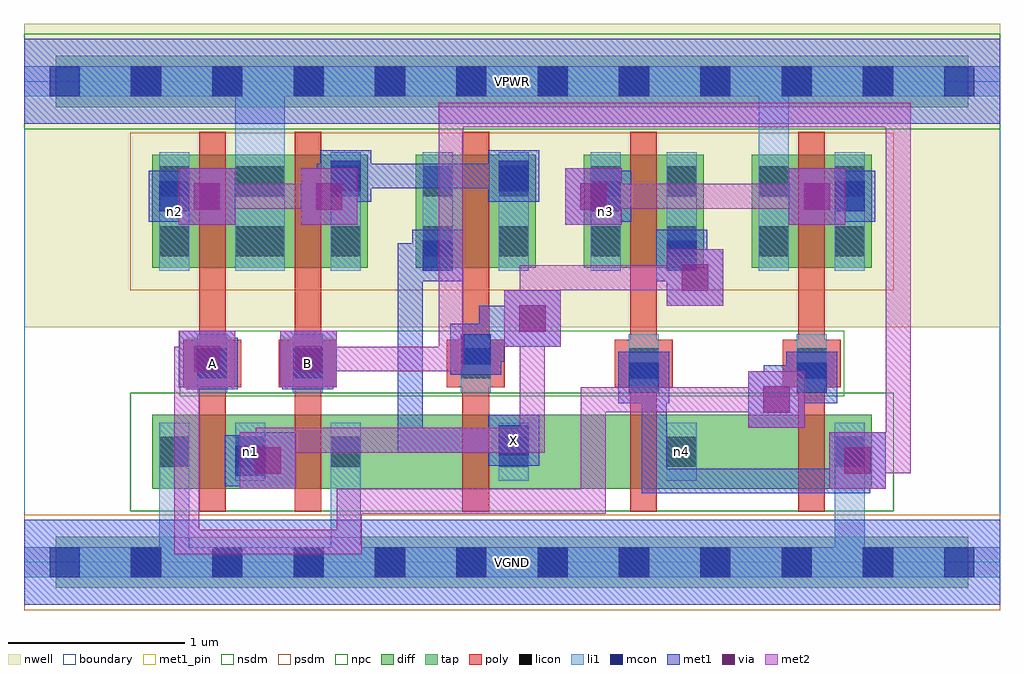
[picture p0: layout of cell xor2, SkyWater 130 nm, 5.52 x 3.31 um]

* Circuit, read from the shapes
.subckt xor2 A B VGND VPWR X n1 n2 n3 n4
XM1 n1 A VGND VGND sky130_fd_pr__nfet_01v8 w=0.42 l=0.15
XM2 VGND B n1 VGND sky130_fd_pr__nfet_01v8 w=0.42 l=0.15
XM3 X n1 VGND VGND sky130_fd_pr__nfet_01v8 w=0.42 l=0.15
XM4 n4 B X VGND sky130_fd_pr__nfet_01v8 w=0.42 l=0.15
XM5 VGND A n4 VGND sky130_fd_pr__nfet_01v8 w=0.42 l=0.15
XM6 VPWR A n2 VPWR sky130_fd_pr__pfet_01v8 w=0.64 l=0.15
XM7 n2 B VPWR VPWR sky130_fd_pr__pfet_01v8 w=0.64 l=0.15
XM8 n2 n1 X VPWR sky130_fd_pr__pfet_01v8 w=0.64 l=0.15
XM9 n1 B n3 VPWR sky130_fd_pr__pfet_01v8 w=0.64 l=0.15
XM10 n3 A VPWR VPWR sky130_fd_pr__pfet_01v8 w=0.64 l=0.15
.ends

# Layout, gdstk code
import gdstk
lib = gdstk.Library(unit=1e-6, precision=1e-09)
def R(c, l, rs):  # rectangles x0, y0, x1, y1
    for r in rs: c.add(gdstk.rectangle(r[:2], r[2:], *l))
def A(c, l, x, y, w, h, nx, ny, dx, dy):  # array of equal rectangles
    R(c, l, [(x+i*dx, y+j*dy, x+i*dx+w, y+j*dy+h) for i in range(nx) for j in range(ny)])
nwell = (64, 20)
diff = (65, 20)
tap = (65, 44)
poly = (66, 20)
licon = (66, 44)
li1 = (67, 20)
mcon = (67, 44)
met1_pin = (68, 16)
met1 = (68, 20)
via = (68, 44)
met2 = (69, 20)
nsdm = (93, 44)
psdm = (94, 20)
npc = (95, 20)
boundary = (235, 4)

xor2 = lib.new_cell('xor2')
R(xor2, nwell, [(0,1.33,5.52,3.045)])
A(xor2, diff, 1.265, 1.665, 0.68, 0.64, 4, 1, 0.95, 0)
R(xor2, diff, [(0.725,0.415,4.795,0.835), (0.725,1.665,1.405,2.305)])
R(xor2, tap, [(0.18,-0.145,5.34,0.145), (0.18,2.575,5.34,2.865)])
A(xor2, poly, 1.53, 0.285, 0.15, 2.15, 4, 1, 0.95, 0)
A(xor2, poly, 1.44, 0.99, 0.33, 0.27, 4, 1, 0.95, 0)
R(xor2, poly, [(0.99,0.285,1.14,2.435), (0.9,0.99,1.23,1.26)])
A(xor2, licon, 0.605, -0.085, 0.17, 0.17, 10, 2, 0.46, 2.72)
A(xor2, licon, 1.735, 0.54, 0.17, 0.17, 4, 1, 0.95, 0)
A(xor2, licon, 1.52, 1.04, 0.17, 0.17, 4, 1, 0.95, 0)
R(xor2, licon, [(0.765,0.54,0.935,0.71), (1.195,0.54,1.365,0.71), (0.98,1.04,1.15,1.21), (0.765,1.73,0.935,1.9), (1.195,1.73,1.365,1.9), (1.305,1.73,1.475,1.9), (1.735,1.73,1.905,1.9), (2.255,1.73,2.425,1.9), (2.685,1.73,2.855,1.9), (3.205,1.73,3.375,1.9), (3.635,1.73,3.805,1.9), (4.155,1.73,4.325,1.9), (4.585,1.73,4.755,1.9), (0.765,2.07,0.935,2.24), (1.195,2.07,1.365,2.24), (1.305,2.07,1.475,2.24), (1.735,2.07,1.905,2.24), (2.255,2.07,2.425,2.24), (2.685,2.07,2.855,2.24), (3.205,2.07,3.375,2.24), (3.635,2.07,3.805,2.24), (4.155,2.07,4.325,2.24), (4.585,2.07,4.755,2.24)])
A(xor2, li1, 1.735, 0.46, 0.17, 0.33, 4, 1, 0.95, 0)
A(xor2, li1, 1.52, 0.96, 0.17, 0.33, 4, 1, 0.95, 0)
R(xor2, li1, [(0,-0.085,5.52,0.085), (0.765,-0.085,0.935,0.79), (1.735,-0.085,1.905,0.79), (4.585,-0.085,4.755,0.79), (0.765,0.46,0.935,0.79), (1.195,0.46,1.365,0.79), (0.98,0.96,1.15,1.29), (0.765,1.65,0.935,2.32), (1.195,1.65,1.365,2.32), (1.195,1.65,1.365,2.805), (1.305,1.65,1.475,2.32), (1.305,1.65,1.475,2.805), (1.735,1.65,1.905,2.32), (2.255,1.65,2.425,2.32), (2.685,1.65,2.855,2.32), (3.205,1.65,3.375,2.32), (3.635,1.65,3.805,2.32), (4.155,1.65,4.325,2.32), (4.155,1.65,4.325,2.805), (4.585,1.65,4.755,2.32), (0,2.635,5.52,2.805)])
A(xor2, mcon, 0.145, -0.085, 0.17, 0.17, 12, 2, 0.46, 2.72)
R(xor2, mcon, [(1.195,0.49,1.365,0.66), (2.685,0.605,2.855,0.775), (3.42,0.96,3.59,1.13), (4.37,0.96,4.54,1.13), (0.98,1.04,1.15,1.21), (1.52,1.04,1.69,1.21), (2.47,1.12,2.64,1.29), (2.255,1.65,2.425,1.82), (3.635,1.65,3.805,1.82), (0.765,1.985,0.935,2.155), (3.205,1.985,3.375,2.155), (4.585,1.985,4.755,2.155), (1.735,2.1,1.905,2.27), (2.685,2.1,2.855,2.27)])
R(xor2, met1_pin, [(0,-0.24,5.52,0.24), (2.625,0.545,2.915,0.835), (0.92,0.98,1.21,1.27), (1.46,0.98,1.75,1.27), (0,2.48,5.52,2.96)])
R(xor2, met1, [(0,-0.24,5.52,0.24), (3.495,0.39,4.785,0.53), (3.495,0.39,3.635,0.99), (4.645,0.39,4.785,0.645), (1.22,0.415,1.54,0.735), (4.555,0.415,4.875,0.735), (1.135,0.43,1.425,0.72), (1.21,0.505,1.45,0.645), (2.625,0.545,2.915,0.835), (2.115,0.62,2.715,0.76), (2.115,0.62,2.255,1.68), (2.575,0.62,2.84,0.76), (4.095,0.76,4.415,1.08), (3.495,0.85,3.635,1.115), (4.185,0.85,4.325,1.115), (3.36,0.9,3.65,1.19), (4.31,0.9,4.6,1.19), (3.435,0.975,3.635,1.115), (4.185,0.975,4.525,1.115), (0.92,0.98,1.21,1.27), (1.46,0.98,1.75,1.27), (0.875,0.99,1.195,1.31), (1.45,0.99,1.77,1.31), (2.41,1.06,2.7,1.35), (0.965,1.08,1.105,1.22), (1.54,1.08,1.68,1.22), (2.485,1.135,2.715,1.275), (2.575,1.135,2.715,1.45), (2.715,1.22,3.035,1.54), (2.575,1.31,2.945,1.45), (3.635,1.45,3.955,1.77), (2.115,1.54,2.255,1.805), (3.725,1.54,3.865,1.805), (2.195,1.59,2.485,1.88), (3.575,1.59,3.865,1.88), (2.115,1.665,2.41,1.805), (3.65,1.665,3.865,1.805), (0.875,1.91,1.195,2.23), (1.565,1.91,1.885,2.23), (3.06,1.91,3.38,2.23), (4.325,1.91,4.645,2.23), (0.705,1.925,0.995,2.215), (3.145,1.925,3.435,2.215), (4.525,1.925,4.815,2.215), (0.78,2,1.105,2.14), (1.655,2,1.795,2.255), (3.15,2,3.36,2.14), (4.415,2,4.74,2.14), (1.675,2.04,1.965,2.33), (2.625,2.04,2.915,2.33), (1.655,2.115,2.025,2.255), (1.75,2.115,2.025,2.255), (1.885,2.115,2.715,2.255), (2.575,2.115,2.84,2.255), (0,2.48,5.52,2.96)])
R(xor2, via, [(1.305,0.5,1.455,0.65), (4.64,0.5,4.79,0.65), (4.18,0.845,4.33,0.995), (0.96,1.075,1.11,1.225), (1.535,1.075,1.685,1.225), (2.8,1.305,2.95,1.455), (3.72,1.535,3.87,1.685), (0.96,1.995,1.11,2.145), (1.65,1.995,1.8,2.145), (3.145,1.995,3.295,2.145), (4.41,1.995,4.56,2.145)])
R(xor2, met2, [(0.85,0.045,1.91,0.185), (0.85,0.045,0.99,1.22), (1.77,0.045,1.91,0.415), (1.77,0.275,3.29,0.415), (3.15,0.275,3.29,0.99), (1.22,0.415,1.54,0.735), (4.555,0.415,4.875,0.735), (1.31,0.505,1.45,0.76), (4.645,0.505,5.015,0.645), (4.875,0.505,5.015,2.6), (1.31,0.62,2.945,0.76), (2.805,0.62,2.945,1.45), (4.095,0.76,4.415,1.08), (3.15,0.85,4.325,0.99), (0.875,0.99,1.195,1.31), (1.45,0.99,1.77,1.31), (0.85,1.08,1.105,1.22), (1.54,1.08,2.485,1.22), (2.345,1.08,2.485,2.6), (2.715,1.22,3.035,1.54), (2.805,1.31,2.945,1.68), (3.635,1.45,3.955,1.77), (2.805,1.54,3.865,1.68), (0.875,1.91,1.195,2.23), (1.565,1.91,1.885,2.23), (3.06,1.91,3.38,2.23), (4.325,1.91,4.645,2.23), (0.965,2,1.795,2.14), (3.15,2,4.555,2.14), (2.345,2.46,5.015,2.6)])
R(xor2, nsdm, [(0.6,0.29,4.92,0.96), (0,2.45,5.52,2.99)])
R(xor2, psdm, [(0,-0.27,5.52,0.27), (0.6,1.54,4.92,2.43)])
R(xor2, npc, [(0.88,0.94,4.64,1.31)])
R(xor2, boundary, [(0,0,5.52,2.72)])
xor2.add(gdstk.Label('n1', (1.28,0.625), layer=67, texttype=5))
xor2.add(gdstk.Label('n4', (3.72,0.625), layer=67, texttype=5))
xor2.add(gdstk.Label('n2', (0.85,1.985), layer=67, texttype=5))
xor2.add(gdstk.Label('n3', (3.29,1.985), layer=67, texttype=5))
xor2.add(gdstk.Label('A', (1.065,1.125), layer=68, texttype=5))
xor2.add(gdstk.Label('B', (1.605,1.125), layer=68, texttype=5))
xor2.add(gdstk.Label('X', (2.77,0.69), layer=68, texttype=5))
xor2.add(gdstk.Label('VPWR', (2.76,2.72), layer=68, texttype=5))
xor2.add(gdstk.Label('VGND', (2.76,0), layer=68, texttype=5))
xor2.add(gdstk.Label('A', (1.065,1.125), layer=68, texttype=16))
xor2.add(gdstk.Label('B', (1.605,1.125), layer=68, texttype=16))
xor2.add(gdstk.Label('X', (2.77,0.69), layer=68, texttype=16))
xor2.add(gdstk.Label('VPWR', (2.76,2.72), layer=68, texttype=16))
xor2.add(gdstk.Label('VGND', (2.76,0), layer=68, texttype=16))

lib.write_gds('xor2.gds')
